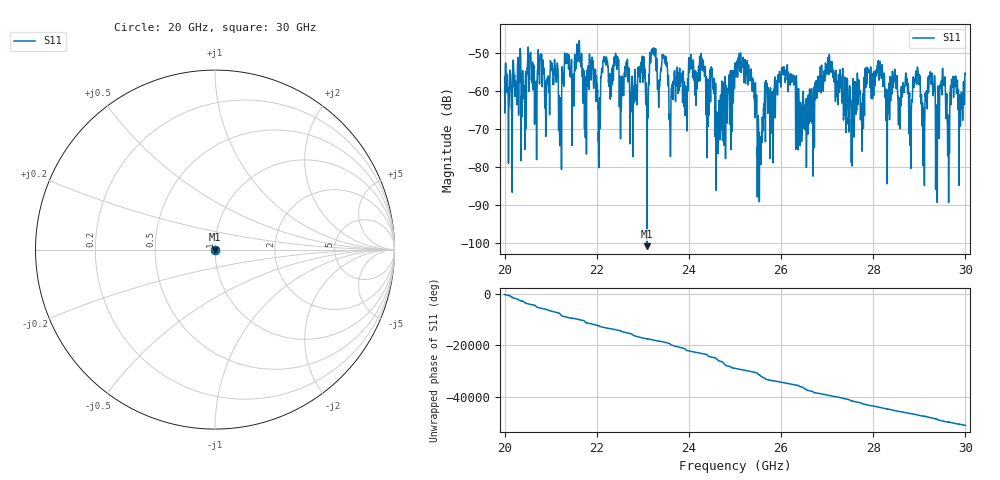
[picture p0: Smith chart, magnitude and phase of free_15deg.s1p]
#  HZ  S  RI  R  50.00
! Rohde & Schwarz ZVA40 4Ports - Version 3.90 - 1145.1110k42 SN: 100403
! Date: 2023-09-30 06:18:19
! Measurement: S12
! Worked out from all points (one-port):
!   5001 points, 20 GHz to 30 GHz, reference 50 ohm
!   lowest |S11| = -100.8 dB at 23.09 GHz (marker M1), VSWR 1.00, Z = 50 + j0.000201 ohm
!   |S11| at or under -10 dB: start of sweep to end of sweep
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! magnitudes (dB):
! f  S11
! 20 GHz  -56.4
! 21.25 GHz  -53.8
! 21.59 GHz  -50.6
! 22.03 GHz  -64.0
! 22.18 GHz  -51.3
! 22.5 GHz  -56.9
! 23.09 GHz  -100.8
! 23.23 GHz  -50.5
! 23.61 GHz  -65.5
! 23.75 GHz  -55.0
! 24.28 GHz  -53.8
! 24.63 GHz  -75.6
! 25 GHz  -53.0
! 25.31 GHz  -55.0
! 25.53 GHz  -74.7
! 25.68 GHz  -57.4
! 26.25 GHz  -57.0
! 26.41 GHz  -67.4
! 27.06 GHz  -54.4
! 27.5 GHz  -61.6
! 27.87 GHz  -54.7
! 28.75 GHz  -59.5
! 29.08 GHz  -71.1
! 29.24 GHz  -55.2
! 29.39 GHz  -68.6
! 29.51 GHz  -55.7
! 29.62 GHz  -72.5
! 30 GHz  -55.5
